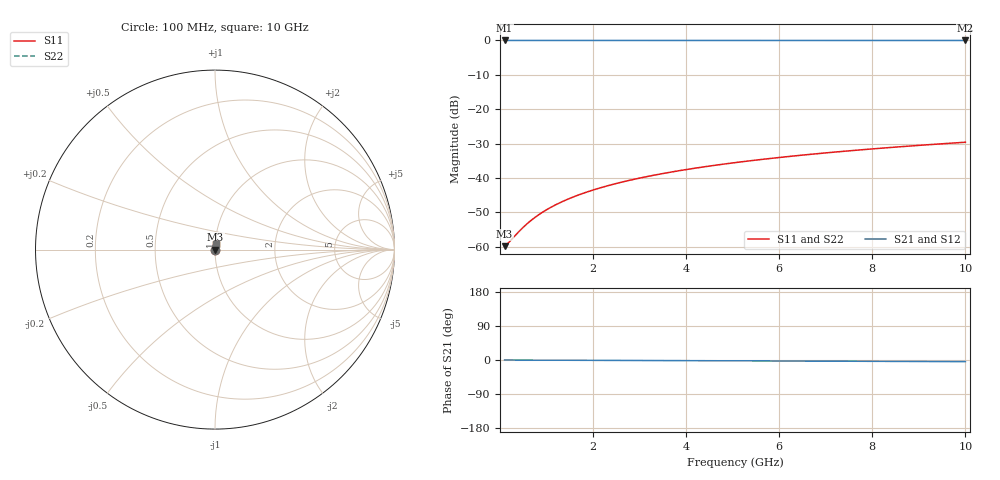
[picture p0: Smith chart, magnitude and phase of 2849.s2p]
# Hz S RI R 50.00
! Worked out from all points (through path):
!   100 points, 100 MHz to 10 GHz, reference 50 ohm
!   highest |S21| = -0.01 dB at 100 MHz (marker M1); lowest = 0.0 dB at 10 GHz (marker M2)
!   lowest |S11| = -59.8 dB at 100 MHz (marker M3), VSWR 1.00, Z = 50.1 + j0.0331 ohm
!   |S11| at or under -10 dB: start of sweep to end of sweep
!   |S22| runs from -59.8 to -29.6 dB; largest |S21 - S12| = 0
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1e8  0.000968 0.00033  0.999 -0.000754  0.999 -0.000754  0.000968 0.00033
2e8  0.000975 0.00066  0.999 -0.00151  0.999 -0.00151  0.000975 0.00066
4e8  0.000986 0.00132  0.999 -0.00302  0.999 -0.00302  0.000986 0.00132
5e8  0.000992 0.00165  0.999 -0.00377  0.999 -0.00377  0.000992 0.00165
6e8  0.000997 0.00198  0.999 -0.00452  0.999 -0.00452  0.000997 0.00198
7e8  0.001 0.00231  0.999 -0.00528  0.999 -0.00528  0.001 0.00231
9e8  0.00102 0.00297  0.999 -0.00679  0.999 -0.00679  0.00102 0.00297
1.1e9  0.00103 0.00363  0.999 -0.00829  0.999 -0.00829  0.00103 0.00363
1.3e9  0.00104 0.00429  0.9989 -0.0098  0.9989 -0.0098  0.00104 0.00429
1.5e9  0.00106 0.00495  0.9989 -0.0113  0.9989 -0.0113  0.00106 0.00495
1.8e9  0.00109 0.00594  0.9989 -0.0136  0.9989 -0.0136  0.00109 0.00594
2.1e9  0.00112 0.00693  0.9988 -0.0158  0.9988 -0.0158  0.00112 0.00693
2.5e9  0.00117 0.00825  0.9988 -0.0189  0.9988 -0.0189  0.00117 0.00825
2.9e9  0.00123 0.00957  0.9987 -0.0219  0.9987 -0.0219  0.00123 0.00957
3.4e9  0.00131 0.0112  0.9986 -0.0256  0.9986 -0.0256  0.00131 0.0112
4.2e9  0.00147 0.0139  0.9984 -0.0317  0.9984 -0.0317  0.00147 0.0139
5.1e9  0.00169 0.0168  0.9981 -0.0385  0.9981 -0.0385  0.00169 0.0168
5.9e9  0.00191 0.0195  0.9977 -0.0445  0.9977 -0.0445  0.00191 0.0195
6.7e9  0.00217 0.0221  0.9974 -0.0506  0.9974 -0.0506  0.00217 0.0221
7.5e9  0.00246 0.0247  0.997 -0.0566  0.997 -0.0566  0.00246 0.0247
8.4e9  0.00283 0.0277  0.9965 -0.0634  0.9965 -0.0634  0.00283 0.0277
1e10  0.00358 0.0329  0.9955 -0.0755  0.9955 -0.0755  0.00358 0.0329
